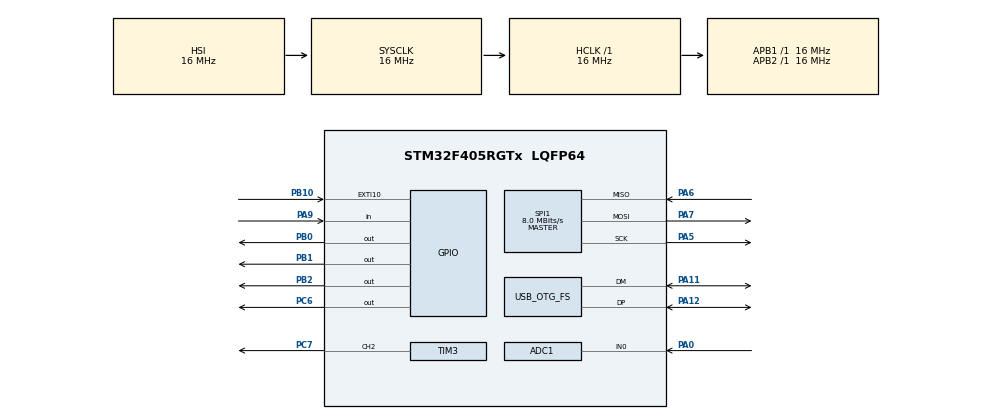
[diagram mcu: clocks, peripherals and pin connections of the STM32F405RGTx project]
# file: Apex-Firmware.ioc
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ADC1.Channel-0\#ChannelRegularConversion=ADC_CHANNEL_0
ADC1.NbrOfConversionFlag=1
ADC1.Rank-0\#ChannelRegularConversion=1
ADC1.SamplingTime-0\#ChannelRegularConversion=ADC_SAMPLETIME_3CYCLES
ADC1.master=1
Mcu.Family=STM32F4
Mcu.Name=STM32F405RGTx
Mcu.Package=LQFP64
NVIC.OTG_FS_IRQn=true\:0\:0\:false\:false\:true\:false\:true\:true
NVIC.PriorityGroup=NVIC_PRIORITYGROUP_4
PA0-WKUP.Signal=ADCx_IN0
PA11.Mode=Device_Only
PA11.Signal=USB_OTG_FS_DM
PA12.Mode=Device_Only
PA12.Signal=USB_OTG_FS_DP
PA13.Mode=Serial_Wire
PA13.Signal=SYS_JTMS-SWDIO
PA14.Mode=Serial_Wire
PA14.Signal=SYS_JTCK-SWCLK
PA5.Mode=Full_Duplex_Master
PA5.Signal=SPI1_SCK
PA6.Mode=Full_Duplex_Master
PA6.Signal=SPI1_MISO
PA7.Mode=Full_Duplex_Master
PA7.Signal=SPI1_MOSI
PA9.Signal=GPIO_Input
PB0.Signal=GPIO_Output
PB1.Signal=GPIO_Output
PB10.Signal=GPXTI10
PB2.Signal=GPIO_Output
PC6.Signal=GPIO_Output
PC7.Signal=S_TIM3_CH2
PH0-OSC_IN.Mode=HSE-External-Oscillator
PH0-OSC_IN.Signal=RCC_OSC_IN
PH1-OSC_OUT.Mode=HSE-External-Oscillator
PH1-OSC_OUT.Signal=RCC_OSC_OUT
ProjectManager.HeapSize=0x200
ProjectManager.StackSize=0x400
ProjectManager.TargetToolchain=STM32CubeIDE
RCC.48MHZClocksFreq_Value=48000000
RCC.AHBFreq_Value=16000000
RCC.APB1Freq_Value=16000000
RCC.APB2Freq_Value=16000000
RCC.CortexFreq_Value=16000000
RCC.HSE_VALUE=8000000
RCC.HSI_VALUE=16000000
RCC.LSE_VALUE=32768
RCC.PLLM=4
RCC.PLLN=72
RCC.PLLQ=3
RCC.SYSCLKFreq_VALUE=16000000
RCC.VCOOutputFreq_Value=144000000
SH.ADCx_IN0.0=ADC1_IN0,IN0
SH.S_TIM3_CH2.0=TIM3_CH2,PWM Generation2 CH2
SPI1.CalculateBaudRate=8.0 MBits/s
SPI1.Direction=SPI_DIRECTION_2LINES
SPI1.Mode=SPI_MODE_MASTER
SPI1.VirtualType=VM_MASTER
TIM3.Channel-PWM\ Generation2\ CH2=TIM_CHANNEL_2
USB_DEVICE.CLASS_NAME_FS=CDC
USB_DEVICE.VirtualMode-CDC_FS=Cdc
USB_DEVICE.VirtualModeFS=Cdc_FS
USB_OTG_FS.VirtualMode=Device_Only
VP_USB_DEVICE_VS_USB_DEVICE_CDC_FS.Mode=CDC_FS
board=custom

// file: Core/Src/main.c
/* USER CODE BEGIN Header */
/**
 ******************************************************************************
 * @file           : main.c
 * @brief          : Main program body
 ******************************************************************************
 * @attention
 *
 * Copyright (c) 2026 STMicroelectronics.
 * All rights reserved.
 *
 * This software is licensed under terms that can be found in the LICENSE file
 * in the root directory of this software component.
 * If no LICENSE file comes with this software, it is provided AS-IS.
 *
 ******************************************************************************
 */
/* USER CODE END Header */
#include "main.h"
#include "adc.h"
#include "spi.h"
#include "tim.h"
#include "usb_device.h"
#include "gpio.h"

/* USER CODE BEGIN Includes */
#include <stdio.h>
#include <stdint.h>
#include <stdbool.h>
/* USER CODE END Includes */

/* USER CODE BEGIN PTD */
typedef enum {
	STATE_PAD = 0,
	STATE_BURN,
	STATE_CONTROL_LOOP,
	STATE_DESCENT,
	STATE_LANDED
} FlightState;

typedef struct {
    float accel_g;
    float altitude_m;
    float velocity_mps;
} SensorData;

/* USER CODE END PTD */

void SystemClock_Config(void);

int main(void)
{

	/* MCU Configuration--------------------------------------------------------*/

	/* Reset of all peripherals, Initializes the Flash interface and the Systick. */
	HAL_Init();

	/* Configure the system clock */
	SystemClock_Config();

	/* Initialize all configured peripherals */
	MX_GPIO_Init();
	MX_ADC1_Init();
	MX_SPI1_Init();
	MX_TIM3_Init();
	MX_USB_DEVICE_Init();

	/* Infinite loop */
	while (1)
	{

	}
}

void SystemClock_Config(void)
{
	RCC_OscInitTypeDef RCC_OscInitStruct = {0};
	RCC_ClkInitTypeDef RCC_ClkInitStruct = {0};

	/** Configure the main internal regulator output voltage
	 */
	__HAL_RCC_PWR_CLK_ENABLE();
	__HAL_PWR_VOLTAGESCALING_CONFIG(PWR_REGULATOR_VOLTAGE_SCALE1);

	/** Initializes the RCC Oscillators according to the specified parameters
	 * in the RCC_OscInitTypeDef structure.
	 */
	RCC_OscInitStruct.OscillatorType = RCC_OSCILLATORTYPE_HSI|RCC_OSCILLATORTYPE_HSE;
	RCC_OscInitStruct.HSEState = RCC_HSE_ON;
	RCC_OscInitStruct.HSIState = RCC_HSI_ON;
	RCC_OscInitStruct.HSICalibrationValue = RCC_HSICALIBRATION_DEFAULT;
	RCC_OscInitStruct.PLL.PLLState = RCC_PLL_ON;
	RCC_OscInitStruct.PLL.PLLSource = RCC_PLLSOURCE_HSE;
	RCC_OscInitStruct.PLL.PLLM = 4;
	RCC_OscInitStruct.PLL.PLLN = 72;
	RCC_OscInitStruct.PLL.PLLP = RCC_PLLP_DIV2;
	RCC_OscInitStruct.PLL.PLLQ = 3;
	if (HAL_RCC_OscConfig(&RCC_OscInitStruct) != HAL_OK)
	{
		Error_Handler();
	}

	/** Initializes the CPU, AHB and APB buses clocks
	 */
	RCC_ClkInitStruct.ClockType = RCC_CLOCKTYPE_HCLK|RCC_CLOCKTYPE_SYSCLK
			|RCC_CLOCKTYPE_PCLK1|RCC_CLOCKTYPE_PCLK2;
	RCC_ClkInitStruct.SYSCLKSource = RCC_SYSCLKSOURCE_HSI;
	RCC_ClkInitStruct.AHBCLKDivider = RCC_SYSCLK_DIV1;
	RCC_ClkInitStruct.APB1CLKDivider = RCC_HCLK_DIV1;
	RCC_ClkInitStruct.APB2CLKDivider = RCC_HCLK_DIV1;

	if (HAL_RCC_ClockConfig(&RCC_ClkInitStruct, FLASH_LATENCY_0) != HAL_OK)
	{
		Error_Handler();
	}
}

void Error_Handler(void)
{
	__disable_irq();
	while (1)
	{
	}
}
